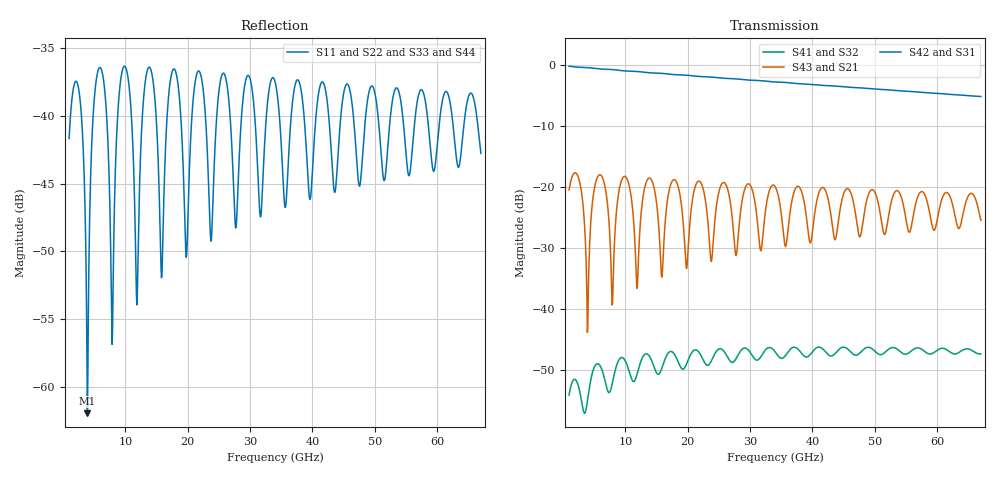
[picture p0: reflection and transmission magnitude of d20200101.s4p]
! www.PolarInstruments.com
! File Export V10.11 [9.03]
! For hxji@mail.xidian.edu.cn;QQ=47399897
! File : D:\SJTU\Bachelor\thesis\ncmmw2020\Code\data\SI\d20200101.s4p
! Polar  PCB Transmission Line Field Solver  v11.04.00
# MHz S DB R 50.00
! Line Length = 0.018m ( 0.71 inch )
!  PORT NUMBERING (Classic style)
!  PORT#  PORT#
!  Z1 = Z2 = 50.00  Z3 = Z4 = 50.00
!  1 --|  |-- 3
!  2 --|  |-- 4
! FREQ MHz  S11  S12  S13  S14
!  S21  S22  S23  S24
!  S31  S32  S33  S34
!  S41  S42  S43  S44
!  DB  ANG  DB  ANG  DB  ANG  DB  ANG
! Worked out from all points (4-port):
!   901 points, 1 GHz to 67 GHz, reference 50 ohm
!   strongest paths, dB at 1 GHz, 17.5 GHz, 34 GHz, 50.5 GHz, 67 GHz:
!     S42: -0.2, -1.5, -2.8, -4.0, -5.1
!     S31: -0.2, -1.5, -2.8, -4.0, -5.1
!     S43: -20.5, -19.1, -19.9, -22.4, -25.5
!     S21: -20.5, -19.1, -19.9, -22.4, -25.5
!     S41: -54.1, -47.0, -47.0, -47.4, -47.4
!     S32: -54.1, -47.0, -47.0, -47.4, -47.4
!   lowest |S11| = -62.0 dB at 3.933 GHz (marker M1), VSWR 1.00, Z = 49.9 + j0.0427 ohm
!   |S11| at or under -10 dB: start of sweep to end of sweep
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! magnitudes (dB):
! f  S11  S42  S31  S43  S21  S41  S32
! 1 GHz  -41.7  -0.2  -0.2  -20.5  -20.5  -54.1  -54.1
! 3.933 GHz  -62.0  -0.4  -0.4  -43.9  -43.9  -55.1  -55.1
! 5.913 GHz  -36.4  -0.6  -0.6  -18.0  -18.0  -49.3  -49.3
! 7.893 GHz  -56.9  -0.7  -0.7  -39.4  -39.4  -52.4  -52.4
! 9.873 GHz  -36.3  -0.9  -0.9  -18.3  -18.3  -48.3  -48.3
! 11.85 GHz  -54.0  -1.0  -1.0  -36.6  -36.6  -50.8  -50.8
! 67 GHz  -42.8  -5.1  -5.1  -25.5  -25.5  -47.4  -47.4
